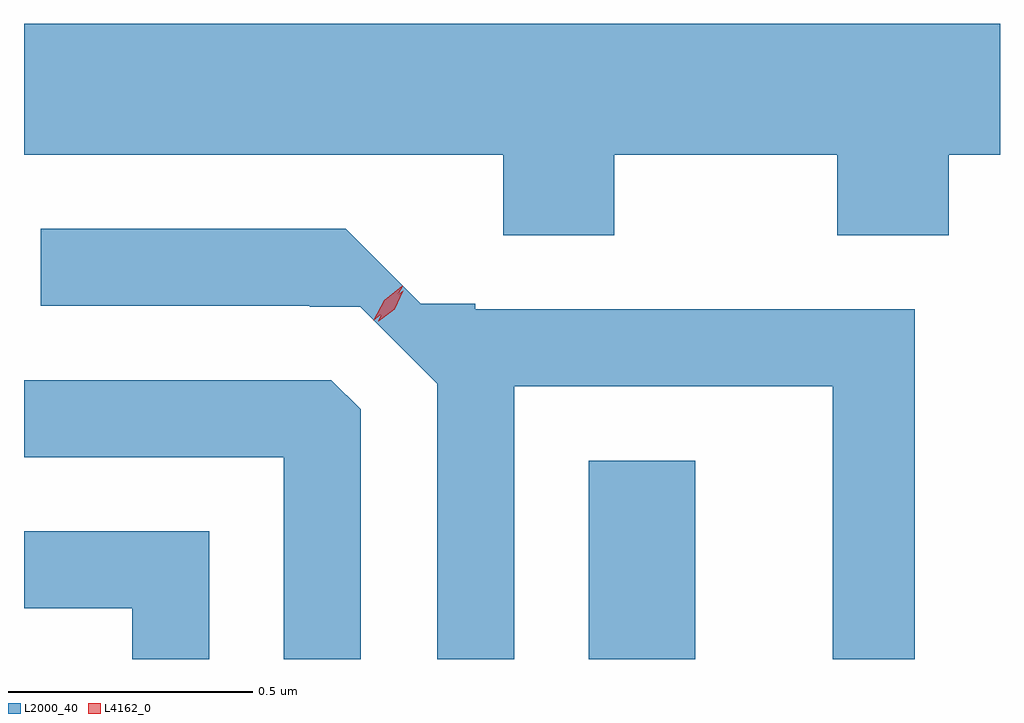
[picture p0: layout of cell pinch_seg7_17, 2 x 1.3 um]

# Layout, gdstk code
import gdstk
lib = gdstk.Library(unit=1e-6, precision=1e-09)
def R(c, l, rs):  # rectangles x0, y0, x1, y1
    for r in rs: c.add(gdstk.rectangle(r[:2], r[2:], *l))
def P(c, l, *ps):  # polygons
    for p in ps: c.add(gdstk.Polygon(p, *l))
L2000_40 = (2000, 40)
L4162_0 = (4162, 0)

pinch_seg7_17 = lib.new_cell('pinch_seg7_17')
R(pinch_seg7_17, L2000_40, [(1037.486,1762.122,1037.704,1762.529)])
P(pinch_seg7_17, L2000_40, [(1036.329,1763.156),(1037.311,1763.156),(1037.311,1762.991),(1037.539,1762.991),(1037.539,1763.156),(1037.996,1763.156),(1037.996,1762.991),(1038.224,1762.991),(1038.224,1763.156),(1038.329,1763.156),(1038.329,1763.424),(1036.329,1763.424)],
  [(1037.334,1762.681),(1037.986,1762.681),(1037.986,1762.122),(1038.154,1762.122),(1038.154,1762.839),(1037.254,1762.839),(1037.254,1762.85),(1037.142,1762.85),(1036.988,1763.004),(1036.363,1763.004),(1036.363,1762.846),(1036.915,1762.846),(1036.915,1762.844),(1037.018,1762.844),(1037.176,1762.686),(1037.176,1762.122),(1037.334,1762.122)],
  [(1037.019,1762.634),(1036.959,1762.694),(1036.329,1762.694),(1036.329,1762.536),(1036.861,1762.536),(1036.861,1762.122),(1037.019,1762.122)],
  [(1036.709,1762.384),(1036.329,1762.384),(1036.329,1762.226),(1036.551,1762.226),(1036.551,1762.122),(1036.709,1762.122)])
P(pinch_seg7_17, L4162_0, [(1037.055,1762.814),(1037.055,1762.815),(1037.073,1762.852),(1037.106,1762.877),(1037.106,1762.877),(1037.106,1762.877),(1037.089,1762.839),(1037.056,1762.814)],
  [(1037.045,1762.816),(1037.045,1762.816),(1037.067,1762.858),(1037.104,1762.887),(1037.105,1762.887),(1037.105,1762.886),(1037.082,1762.845),(1037.045,1762.816)])

lib.write_gds('pinch_seg7_17.gds')
